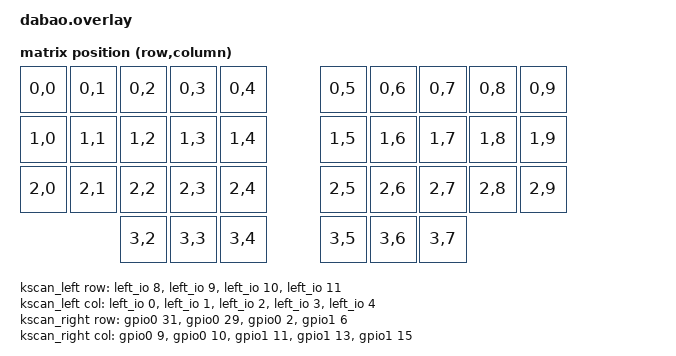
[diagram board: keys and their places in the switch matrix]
#include <dt-bindings/pinctrl/nrf-pinctrl.h>
#include <dt-bindings/zmk/matrix_transform.h>
#include <dt-bindings/zmk/pointing.h>
#include <dt-bindings/zmk/input_transform.h>
#include <input/processors.dtsi>
#include <zephyr/dt-bindings/input/input-event-codes.h>
#include "dabao_trackpoint.dtsi"
#include "dabao-layouts.dtsi"

/* The physical layout carries the Studio-visible key geometry and reuses the
 * matrix transform, which stays defined in &{/} below. */
&dabao_physical_layout {
    transform = <&default_transform>;
};

&{/} {
    chosen {
        zmk,kscan = &kscan_composite;
        /* A chosen zmk,matrix-transform would make ZMK ignore the physical
         * layouts and fail the ZMK_STUDIO build assertion, so only the
         * physical layout is chosen here. */
        zmk,physical-layout = &dabao_physical_layout;
    };

    /* Auto mouse layer. Activates keymap layer 4 while the trackpoint is
     * reporting movement, and releases it 400ms after the last movement.
     * J (16) / K (17) / L (18) click, the mouse layer's left half carries the
     * trackpoint tuning keys and the speed modifiers, and the outer left thumb
     * (31) holds scroll mode, so all of those positions are excluded from
     * dismissing the layer. This matters: a key press that is not excluded
     * deactivates the layer *before* its own binding is resolved, so the binding
     * would never fire (see ZMK test
     * tests/pointing/mouse-move/processors/temp_layer/2a). Any other key press
     * still dismisses the layer. require-prior-idle-ms keeps it from coming up
     * mid-typing; set it to 0 to remove that guard.
     *
     * The positions excluded here are the ones bound on the mouse layer in
     * dabao.keymap. Adding a binding there without adding its position here
     * silently breaks it, and removing the binding without dropping the position
     * makes a plain letter key stop dismissing the layer.
     */
    auto_mouse_layer: auto_mouse_layer {
        compatible = "zmk,input-processor-temp-layer";
        #input-processor-cells = <2>;
        require-prior-idle-ms = <150>;
        excluded-positions = <0 1 2 3 4 10 11 12 13 16 17 18 30 31>;
    };

    input_listener: input_listener {
        compatible = "zmk,input-listener";
        device = <&tpoint0>;
        input-processors = <&zip_xy_transform INPUT_TRANSFORM_Y_INVERT &auto_mouse_layer 4 400>;

        // Layers 1 (symbols, the existing hold-TAB scroll) and 5 (scroll mode,
        // held from the outer left thumb on the mouse layer) turn trackpoint
        // motion into scrolling.
        // &zip_xy_scaler 1 5 scales both axes by 0.2 before the mapper sends X as
        // horizontal wheel and Y as vertical wheel. Previously vertical was 0.3
        // (&zip_y_scaler 3 10) and horizontal was unscaled.
        scroller {
            layers = <1 5>;
            input-processors = <&zip_xy_scaler 1 5 &zip_xy_to_scroll_mapper>;
        };

        // Layers 6 (boost, held from F on the mouse layer) and 7 (slow, held
        // from its neighbour) scale the pointer instead of redirecting it. Both
        // set process-next on purpose: an override chain replaces the base
        // chain, so without it the Y transform above would be skipped and
        // &auto_mouse_layer would stop being refreshed, letting the auto mouse
        // layer time out 400ms into a long flick and drop the held modifier.
        // Each chain holds only its scaler, so the base chain still applies its
        // transform exactly once. The scalers track remainders, so halving keeps
        // sub-unit precision instead of rounding movement away.
        //
        // Order matters, because the first matching override wins unless it sets
        // process-next: scroller is first, so holding F and boost together in
        // scroll mode gives ordinary scrolling instead of a fast diagonal. Boost
        // and slow both set process-next, so holding both composes them to 3/2.
        boost {
            layers = <6>;
            process-next;
            input-processors = <&zip_xy_scaler 3 1>;
        };

        slow {
            layers = <7>;
            process-next;
            input-processors = <&zip_xy_scaler 1 2>;
        };
    };

    default_transform: matrix_transform {
        compatible = "zmk,matrix-transform";
        columns = <10>; // 5 left + 5 right
        rows = <4>;
        map = <
        RC(0,0) RC(0,1) RC(0,2) RC(0,3) RC(0,4)     RC(0,5) RC(0,6) RC(0,7) RC(0,8) RC(0,9)
        RC(1,0) RC(1,1) RC(1,2) RC(1,3) RC(1,4)     RC(1,5) RC(1,6) RC(1,7) RC(1,8) RC(1,9)
        RC(2,0) RC(2,1) RC(2,2) RC(2,3) RC(2,4)     RC(2,5) RC(2,6) RC(2,7) RC(2,8) RC(2,9)
                        RC(3,2) RC(3,3) RC(3,4)     RC(3,5) RC(3,6) RC(3,7)
        >;
    };

    kscan_composite: kscan_composite {
        compatible = "zmk,kscan-composite";
        rows = <4>;
        columns = <10>;

        kscan0: kscan_right {
            kscan = <&kscan_right>;
            col-offset = <5>;
        };
        kscan1: kscan_left {
            kscan = <&kscan_left>;
        };
    };

    /* Left Half: MCP23017 expander (columns 0-4) */
    kscan_left: kscan_left {
        compatible = "zmk,kscan-gpio-matrix";
        diode-direction = "row2col";

        row-gpios =
            <&left_io 8  (GPIO_ACTIVE_LOW)>,
            <&left_io 9  (GPIO_ACTIVE_LOW)>,
            <&left_io 10 (GPIO_ACTIVE_LOW)>,
            <&left_io 11 (GPIO_ACTIVE_LOW)>
        ;
        col-gpios =
            <&left_io 0 (GPIO_ACTIVE_LOW | GPIO_PULL_UP)>,
            <&left_io 1 (GPIO_ACTIVE_LOW | GPIO_PULL_UP)>,
            <&left_io 2 (GPIO_ACTIVE_LOW | GPIO_PULL_UP)>,
            <&left_io 3 (GPIO_ACTIVE_LOW | GPIO_PULL_UP)>,
            <&left_io 4 (GPIO_ACTIVE_LOW | GPIO_PULL_UP)>
        ;
    };

    /* Right Half: Direct GPIO (columns 5-9) */
    kscan_right: kscan_right {
        compatible = "zmk,kscan-gpio-matrix";
        diode-direction = "col2row";

        row-gpios =
            <&gpio0 31 (GPIO_ACTIVE_HIGH | GPIO_PULL_DOWN)>,
            <&gpio0 29 (GPIO_ACTIVE_HIGH | GPIO_PULL_DOWN)>,
            <&gpio0 2 (GPIO_ACTIVE_HIGH | GPIO_PULL_DOWN)>,
            <&gpio1 6 (GPIO_ACTIVE_HIGH | GPIO_PULL_DOWN)>
        ;
        col-gpios =
            <&gpio0 9 GPIO_ACTIVE_HIGH>,
            <&gpio0 10 GPIO_ACTIVE_HIGH>,
            <&gpio1 11 GPIO_ACTIVE_HIGH>,
            <&gpio1 13 GPIO_ACTIVE_HIGH>,
            <&gpio1 15 GPIO_ACTIVE_HIGH>
        ;
    };
};

&pinctrl {
    i2c0_default: i2c0_default {
        group1 {
            psels = <NRF_PSEL(TWIM_SDA, 0, 17)>, <NRF_PSEL(TWIM_SCL, 0, 20)>;
            // bias-pull-up;
        };
    };
    i2c0_sleep: i2c0_sleep {
        group1 {
            psels = <NRF_PSEL(TWIM_SDA, 0, 17)>, <NRF_PSEL(TWIM_SCL, 0, 20)>;
            low-power-enable;
        };
    };
};

&i2c0 {
    compatible = "nordic,nrf-twim"; // I2C controller instead of generic
    status = "okay";
    pinctrl-0 = <&i2c0_default>;
    pinctrl-1 = <&i2c0_sleep>;
    pinctrl-names = "default", "sleep";
    clock-frequency = <I2C_BITRATE_FAST>;

    left_io: mcp23017@20 {
        compatible = "microchip,mcp23017";
        status = "okay";
        gpio-controller;
        reg = <0x20>;
        #gpio-cells = <2>;
        ngpios = <16>;
    };
};
